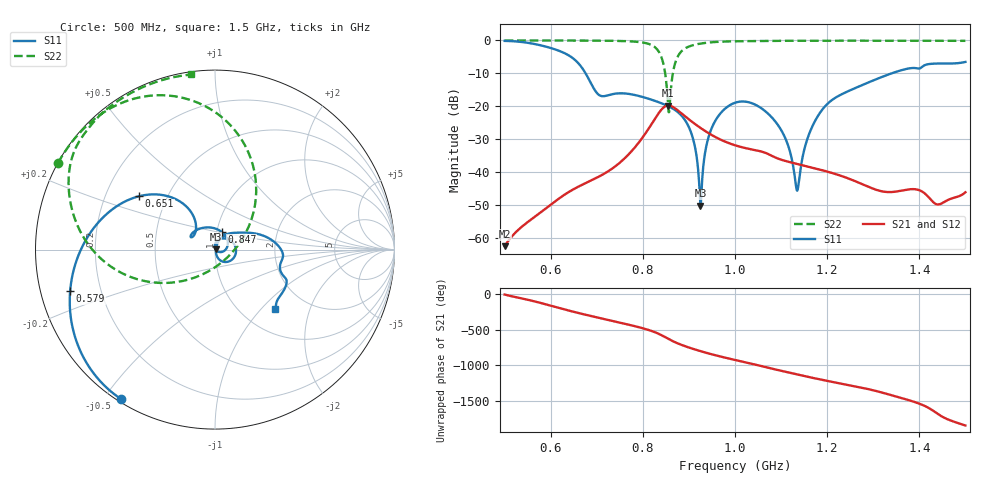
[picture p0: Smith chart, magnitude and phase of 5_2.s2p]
! TOUCHSTONE file generated by CST MICROWAVE STUDIO
! Date and time: Wed Oct 28 19:34:06 2020
! Project name: Scenario_1_Circular_Tissue_out_of_Line_v2.cst
! Parameters = {dy1=-276.8; L_HA=400; MT=2.54; Rad_Dielectric=30; Rad_Lower=7.3; Rad_Upper=30; a_HA=580; a_WG=246; b_HA=500; b_WG=121; c_HA=0; c_WG=187; d_feed=85; dx1=346; h_feed=15; h_lower=18; h_upper=40}
! Header version: 2018
! Port assignment regex: !\s*Touchstone port\s*([0-9]+)\s*=\s*(CST MWS port|CST DS port)\s*([0-9]+|Zmin|Zmax)\s*\(\"(.*)\"\)(\s*mode\s*([0-9]+))?.*
! Touchstone port assignment:
! Touchstone port 1 = CST MWS port 1 ("")
! Touchstone port 2 = CST MWS port 2 ("")
# GHz S DB R 50
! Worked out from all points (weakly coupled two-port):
!   1003 points, 500 MHz to 1.5 GHz, reference 50 ohm
!   highest |S21| = -19.82 dB at 855 MHz (marker M1); lowest = -62.6 dB at 500 MHz (marker M2)
!   lowest |S11| = -50.3 dB at 925 MHz (marker M3), VSWR 1.01, Z = 50.3 + j0.113 ohm
!   |S11| at or under -10 dB: 675.6 MHz to 1.34 GHz (664.7 MHz wide, 65.9 % of centre)
!   |S22| runs from -21.9 to 0.0 dB; largest |S21 - S12| = 7e-06
!   S11 on the Smith chart (normalised r, x): 500 MHz: 0.01, -0.55; 579 MHz: 0.09, -0.14; 651 MHz: 0.35, +0.28; 847 MHz: 1.05, +0.21; 1.5 GHz: 1.42, -1.20
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0.5  -0.15 -122.3  -62.64 -1.1  -62.64 -1.1  -0.01 151.1
0.579  -1.51 -163.9  -52.27 -120.8  -52.27 -120.8  -0.02 145.7
0.651  -5.73 144.9  -45.19 113.7  -45.19 113.7  -0.03 139.8
0.667  -8.15 130.9  -44.03 88.0  -44.03 88.0  -0.04 138.3
0.707  -16.78 139.5  -41.28 27.5  -41.28 27.5  -0.07 134.0
0.78  -16.54 132.3  -33.01 -82.0  -33.01 -82.0  -0.34 120.2
0.834  -18.79 85.3  -22.21 167.0  -22.21 167.0  -3.29 81.6
0.847  -19.51 69.8  -20.20 124.6  -20.20 124.6  -8.79 51.3
0.855  -20.01 59.3  -19.82 96.3  -19.82 96.3  -20.17 -8.5
0.874  -21.60 31.2  -21.10 36.2  -21.10 36.2  -5.42 -165.9
0.902  -27.07 -15.2  -24.26 -31.4  -24.26 -31.4  -1.75 165.5
0.925  -50.33 21.7  -26.62 -78.0  -26.62 -78.0  -0.96 155.7
0.95  -26.50 77.9  -28.84 -123.3  -28.84 -123.3  -0.55 148.9
1  -18.98 12.6  -31.91 158.0  -31.91 158.0  -0.26 140.0
1.089  -24.95 -68.4  -35.73 21.8  -35.73 21.8  -0.13 130.7
1.115  -31.87 -74.6  -36.91 -15.7  -36.91 -15.7  -0.11 128.4
1.135  -45.77 -2.3  -37.62 -45.4  -37.62 -45.4  -0.10 126.7
1.167  -26.43 67.8  -38.72 -91.9  -38.72 -91.9  -0.10 124.1
1.213  -17.90 46.0  -40.45 -152.8  -40.45 -152.8  -0.09 120.6
1.334  -10.32 12.2  -46.17 32.1  -46.17 32.1  -0.08 111.4
1.441  -7.03 -29.8  -49.94 114.4  -49.94 114.4  -0.11 102.9
1.5  -6.55 -44.3  -46.23 -44.1  -46.22 -44.0  -0.13 97.8
